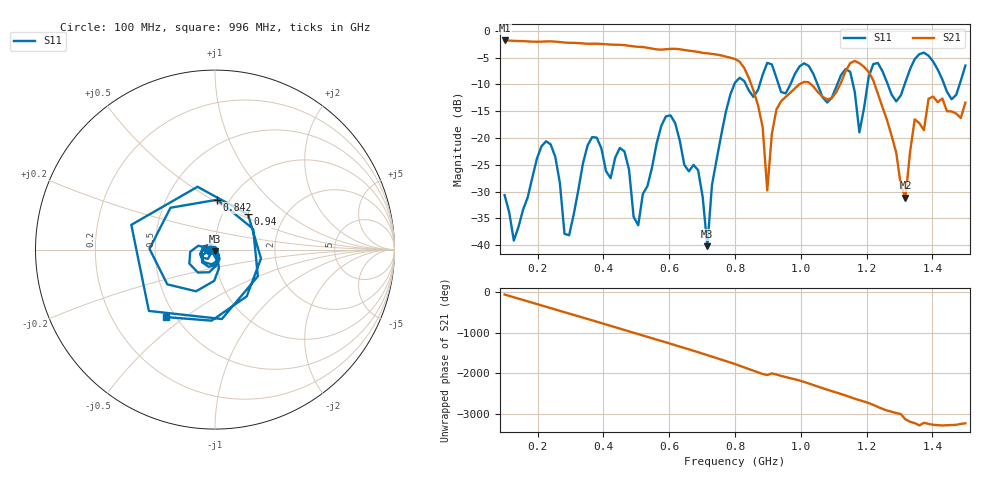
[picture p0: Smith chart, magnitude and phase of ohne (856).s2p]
! NanoVNA-App
! Date: 2025-09-25 14:27:28
! Start: 100MHz Stop: 1,5GHz Points: 101
! S-Parameter data: F S11 S21 S12 S22
# Hz S RI R 50
!  Frequency  S11_Real  S11_Imag  S21_Real  S21_Imag  S12_Real  S12_Imag  S22_Real  S22_Imag
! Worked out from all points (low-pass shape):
!   101 points, 100 MHz to 1.5 GHz, reference 50 ohm
!   highest |S21| = -1.79 dB at 100 MHz (marker M1); lowest = -31.1 dB at 1.318 GHz (marker M2)
!   |S21| within 3 dB of the highest: start of sweep to 771.5 MHz
!   lowest |S11| = -40.2 dB at 716 MHz (marker M3), VSWR 1.02, Z = 49.7 - j0.936 ohm
!   |S11| at or under -10 dB: start of sweep to 797.8 MHz; 833.1 MHz to 875.1 MHz (41.94 MHz wide, 4.91 % of centre); 1.051 GHz to 1.111 GHz (59.74 MHz wide, 5.53 % of centre) (the widest 3 of 7)
!   S12 and S22 are empty: the file has one direction only
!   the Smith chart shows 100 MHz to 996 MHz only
!   S11 on the Smith chart (normalised r, x): 100 MHz: 0.94, -0.01; 842 MHz: 0.88, +0.53; 940 MHz: 1.32, +0.56; 996 MHz: 0.44, -0.43
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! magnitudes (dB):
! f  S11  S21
! 100 MHz  -30.6  -1.8
! 128 MHz  -39.1  -1.9
! 226 MHz  -20.6  -2.0
! 296 MHz  -38.1  -2.2
! 338 MHz  -24.7  -2.3
! 464 MHz  -22.5  -2.7
! 506 MHz  -36.3  -3.0
! 576 MHz  -17.7  -3.5
! 688 MHz  -26.0  -3.9
! 716 MHz  -40.2  -4.2
! 800 MHz  -9.7  -5.2
! 842 MHz  -11.1  -8.8
! 898 MHz  -6.0  -29.8
! 940 MHz  -11.4  -13.1
! 996 MHz  -6.6  -9.9
! 1.038 GHz  -8.0  -10.4
! 1.178 GHz  -18.9  -6.0
! 1.22 GHz  -6.2  -9.2
! 1.276 GHz  -11.9  -19.6
! 1.318 GHz  -9.5  -31.1
! 1.346 GHz  -5.3  -16.5
! 1.5 GHz  -6.5  -13.4
